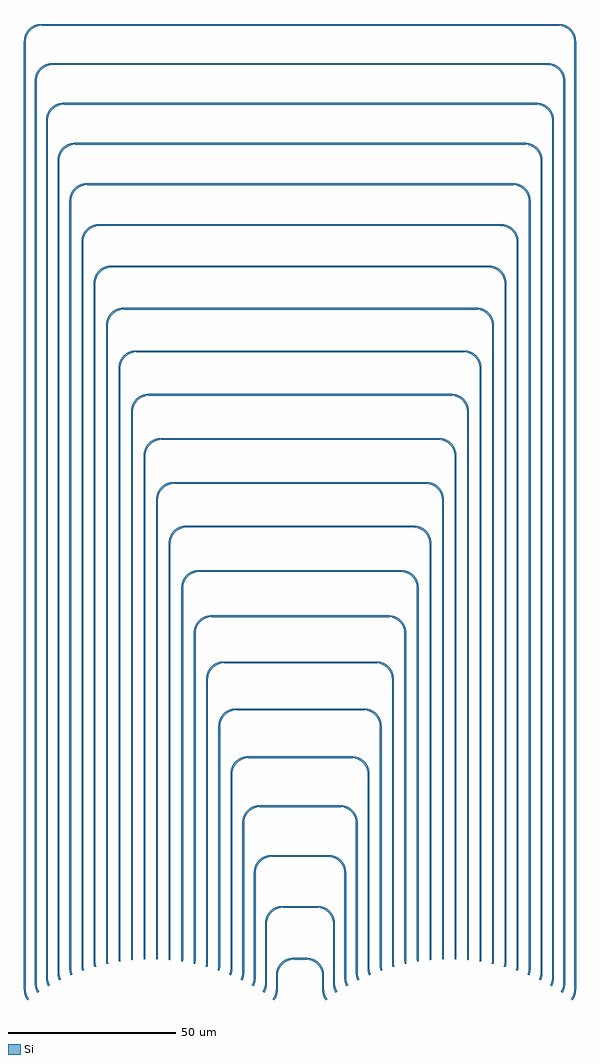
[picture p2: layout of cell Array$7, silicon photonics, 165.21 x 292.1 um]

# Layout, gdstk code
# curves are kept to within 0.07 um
from math import pi, radians
import gdstk
lib = gdstk.Library(unit=1e-6, precision=1e-09)
def R(c, l, rs):  # rectangles x0, y0, x1, y1
    for r in rs: c.add(gdstk.rectangle(r[:2], r[2:], *l))
def P(c, l, *ps):  # polygons
    for p in ps: c.add(gdstk.Polygon(p, *l))
Si = (1, 0)

arc014_2 = lib.new_cell('arc014$2')
P(arc014_2, Si, [(4.407,-2.854),(3.987,-2.582),(4.294,-2.032),(4.545,-1.382),(4.697,-0.711),(4.75,0),(5.25,0),(5.194,-0.768),(5.039,-1.475),(4.777,-2.179)])

arc007_2 = lib.new_cell('arc007$2')
P(arc007_2, Si, [(4.226,-3.115),(3.824,-2.818),(4.23,-2.162),(4.509,-1.495),(4.693,-0.737),(4.75,0),(5.25,0),(5.184,-0.832),(4.995,-1.618),(4.667,-2.405)])

arc077_3 = lib.new_cell('arc077$3')
P(arc077_3, Si, [(5.248,-0.159),(4.748,-0.144),(4.75,0),(5.25,0)])

arc154_2 = lib.new_cell('arc154$2')
P(arc154_2, Si, [(4.75,0),(4.693,0.737),(4.509,1.495),(4.23,2.162),(3.824,2.818),(4.226,3.115),(4.82,2.082),(5.175,0.887),(5.25,0)])

arc112_2 = lib.new_cell('arc112$2')
P(arc112_2, Si, [(4.75,0),(4.706,0.649),(4.575,1.277),(5.057,1.412),(5.205,0.69),(5.25,0)])

arc028_7 = lib.new_cell('arc028$7')
P(arc028_7, Si, [(4.719,-2.301),(4.269,-2.082),(4.624,-1.089),(4.75,0),(5.25,0),(5.117,-1.176)])

arc147_2 = lib.new_cell('arc147$2')
P(arc147_2, Si, [(4.75,0),(4.697,0.711),(4.545,1.382),(4.294,2.032),(3.987,2.582),(4.407,2.854),(4.93,1.806),(5.209,0.659),(5.25,0)])

arc105_5 = lib.new_cell('arc105$5')
P(arc105_5, Si, [(4.75,0),(4.644,0.998),(5.133,1.103),(5.25,0)])

arc063_2 = lib.new_cell('arc063$2')
P(arc063_2, Si, [(5.19,-0.791),(4.696,-0.716),(4.75,0),(5.25,0)])

arc133_2 = lib.new_cell('arc133$2')
P(arc133_2, Si, [(4.75,0),(4.624,1.089),(4.269,2.082),(4.719,2.301),(5.1,1.248),(5.25,0.064),(5.25,0)])

arc132_2 = lib.new_cell('arc132$2')
P(arc132_2, Si, [(4.719,-2.301),(4.269,-2.082),(4.624,-1.089),(4.75,0),(5.25,0),(5.117,-1.176)])

arc055_7 = lib.new_cell('arc055$7')
P(arc055_7, Si, [(4.75,0),(4.644,0.998),(5.133,1.103),(5.25,0)])

arc098_2 = lib.new_cell('arc098$2')
P(arc098_2, Si, [(4.75,0),(4.696,0.716),(5.19,0.791),(5.25,0)])

arc097_6 = lib.new_cell('arc097$6')
P(arc097_6, Si, [(5.19,-0.791),(4.696,-0.716),(4.75,0),(5.25,0)])

taper141_2 = lib.new_cell('taper141$2')
R(taper141_2, Si, [(0,-0.25,256.547,0.25)])

arc_7 = lib.new_cell('arc$7')
P(arc_7, Si, [(4.75,0),(4.693,0.737),(4.509,1.495),(4.23,2.162),(3.824,2.818),(4.226,3.115),(4.82,2.082),(5.175,0.887),(5.25,0)])

arc042_2 = lib.new_cell('arc042$2')
P(arc042_2, Si, [(4.962,-1.715),(4.49,-1.551),(4.682,-0.803),(4.75,0),(5.25,0),(5.178,-0.869)])

taper152_2 = lib.new_cell('taper152$2')
R(taper152_2, Si, [(0,-0.25,148.202,0.25)])

arc070_7 = lib.new_cell('arc070$7')
P(arc070_7, Si, [(5.228,-0.476),(4.73,-0.43),(4.75,0),(5.25,0)])

arc123_2 = lib.new_cell('arc123$2')
P(arc123_2, Si, [(4.75,0),(4.669,0.875),(4.428,1.72),(4.027,2.52),(3.511,3.2),(2.741,3.88),(1.911,4.349),(0.981,4.648),(0,4.75),(0,5.25),(1.057,5.143),(2.096,4.814),(3.037,4.283),(3.862,3.557),(4.656,2.427),(5.105,1.227),(5.25,0)])

taper075_2 = lib.new_cell('taper075$2')
R(taper075_2, Si, [(0,-0.25,68.017,0.25)])

taper142_2 = lib.new_cell('taper142$2')
R(taper142_2, Si, [(0,-0.25,256.547,0.25)])

taper106_2 = lib.new_cell('taper106$2')
R(taper106_2, Si, [(0,-0.25,190.013,0.25)])

arc062_2 = lib.new_cell('arc062$2')
P(arc062_2, Si, [(4.75,0),(4.696,0.716),(5.19,0.791),(5.25,0)])

arc095_4 = lib.new_cell('arc095$4')
P(arc095_4, Si, [(4.75,0),(4.669,0.875),(4.428,1.72),(4.027,2.52),(3.511,3.2),(2.741,3.88),(1.911,4.349),(0.981,4.648),(0,4.75),(0,5.25),(1.057,5.143),(2.096,4.814),(3.037,4.283),(3.862,3.557),(4.656,2.427),(5.105,1.227),(5.25,0)])

taper033_2 = lib.new_cell('taper033$2')
R(taper033_2, Si, [(0,-0.25,23.99,0.25)])

arc081_2 = lib.new_cell('arc081$2')
P(arc081_2, Si, [(4.75,0),(4.669,0.875),(4.428,1.72),(4.027,2.52),(3.511,3.2),(2.741,3.88),(1.911,4.349),(0.981,4.648),(0,4.75),(0,5.25),(1.057,5.143),(2.096,4.814),(3.037,4.283),(3.862,3.557),(4.656,2.427),(5.105,1.227),(5.25,0)])

taper089_2 = lib.new_cell('taper089$2')
R(taper089_2, Si, [(0,-0.25,83.03,0.25)])

arc076_6 = lib.new_cell('arc076$6')
P(arc076_6, Si, [(4.75,0),(4.748,0.144),(5.248,0.159),(5.25,0)])

arc067_7 = lib.new_cell('arc067$7')
P(arc067_7, Si, [(4.75,0),(4.669,0.875),(4.428,1.72),(4.027,2.52),(3.511,3.2),(2.741,3.88),(1.911,4.349),(0.981,4.648),(0,4.75),(0,5.25),(1.057,5.143),(2.096,4.814),(3.037,4.283),(3.862,3.557),(4.656,2.427),(5.105,1.227),(5.25,0)])

arc137_2 = lib.new_cell('arc137$2')
P(arc137_2, Si, [(4.75,0),(4.669,0.875),(4.428,1.72),(4.027,2.52),(3.511,3.2),(2.741,3.88),(1.911,4.349),(0.981,4.648),(0,4.75),(0,5.25),(1.057,5.143),(2.096,4.814),(3.037,4.283),(3.862,3.557),(4.656,2.427),(5.105,1.227),(5.25,0)])

taper145_2 = lib.new_cell('taper145$2')
R(taper145_2, Si, [(0,-0.25,141.481,0.25)])

taper061_2 = lib.new_cell('taper061$2')
R(taper061_2, Si, [(0,-0.25,53.032,0.25)])

taper044_2 = lib.new_cell('taper044$2')
R(taper044_2, Si, [(0,-0.25,71.515,0.25)])

taper127_2 = lib.new_cell('taper127$2')
R(taper127_2, Si, [(0,-0.25,229.737,0.25)])

taper065_2 = lib.new_cell('taper065$2')
R(taper065_2, Si, [(0,-0.25,111.109,0.25)])

taper100_2 = lib.new_cell('taper100$2')
R(taper100_2, Si, [(0,-0.25,176.849,0.25)])

arc158_2 = lib.new_cell('arc158$2')
P(arc158_2, Si, [(4.75,0),(4.669,0.875),(4.428,1.72),(4.027,2.52),(3.511,3.2),(2.741,3.88),(1.911,4.349),(0.981,4.648),(0,4.75),(0,5.25),(1.057,5.143),(2.096,4.814),(3.037,4.283),(3.862,3.557),(4.656,2.427),(5.105,1.227),(5.25,0)])

taper068_2 = lib.new_cell('taper068$2')
R(taper068_2, Si, [(0,-0.25,60.509,0.25)])

taper110_2 = lib.new_cell('taper110$2')
R(taper110_2, Si, [(0,-0.25,105.528,0.25)])

arc017_2 = lib.new_cell('arc017$2')
P(arc017_2, Si, [(0,-5.25),(0,-4.75),(0.907,-4.663),(1.82,-4.388),(2.666,-3.932),(3.35,-3.368),(3.932,-2.666),(4.388,-1.82),(4.663,-0.907),(4.75,0),(5.25,0),(5.159,-0.976),(4.881,-1.935),(4.376,-2.901),(3.735,-3.69),(2.939,-4.351),(2.037,-4.839),(1.057,-5.143)])

taper117_2 = lib.new_cell('taper117$2')
R(taper117_2, Si, [(0,-0.25,112.945,0.25)])

arc025_7 = lib.new_cell('arc025$7')
P(arc025_7, Si, [(4.75,0),(4.669,0.875),(4.428,1.72),(4.027,2.52),(3.511,3.2),(2.741,3.88),(1.911,4.349),(0.981,4.648),(0,4.75),(0,5.25),(1.057,5.143),(2.096,4.814),(3.037,4.283),(3.862,3.557),(4.656,2.427),(5.105,1.227),(5.25,0)])

arc109_2 = lib.new_cell('arc109$2')
P(arc109_2, Si, [(4.75,0),(4.669,0.875),(4.428,1.72),(4.027,2.52),(3.511,3.2),(2.741,3.88),(1.911,4.349),(0.981,4.648),(0,4.75),(0,5.25),(1.057,5.143),(2.096,4.814),(3.037,4.283),(3.862,3.557),(4.656,2.427),(5.105,1.227),(5.25,0)])

taper047_2 = lib.new_cell('taper047$2')
R(taper047_2, Si, [(0,-0.25,38.285,0.25)])

taper103_2 = lib.new_cell('taper103$2')
R(taper103_2, Si, [(0,-0.25,98.051,0.25)])

taper009_2 = lib.new_cell('taper009$2')
R(taper009_2, Si, [(0,-0.25,4.22,0.25)])

taper148_2 = lib.new_cell('taper148$2')
R(taper148_2, Si, [(0,-0.25,270.089,0.25)])

taper057_2 = lib.new_cell('taper057$2')
R(taper057_2, Si, [(0,-0.25,97.946,0.25)])

arc046_7 = lib.new_cell('arc046$7')
P(arc046_7, Si, [(4.75,0),(4.669,0.875),(4.428,1.72),(4.027,2.52),(3.511,3.2),(2.741,3.88),(1.911,4.349),(0.981,4.648),(0,4.75),(0,5.25),(1.057,5.143),(2.096,4.814),(3.037,4.283),(3.862,3.557),(4.656,2.427),(5.105,1.227),(5.25,0)])

arc039_2 = lib.new_cell('arc039$2')
P(arc039_2, Si, [(4.75,0),(4.669,0.875),(4.428,1.72),(4.027,2.52),(3.511,3.2),(2.741,3.88),(1.911,4.349),(0.981,4.648),(0,4.75),(0,5.25),(1.057,5.143),(2.096,4.814),(3.037,4.283),(3.862,3.557),(4.656,2.427),(5.105,1.227),(5.25,0)])

arc130_2 = lib.new_cell('arc130$2')
P(arc130_2, Si, [(4.75,0),(4.669,0.875),(4.428,1.72),(4.027,2.52),(3.511,3.2),(2.741,3.88),(1.911,4.349),(0.981,4.648),(0,4.75),(0,5.25),(1.057,5.143),(2.096,4.814),(3.037,4.283),(3.862,3.557),(4.656,2.427),(5.105,1.227),(5.25,0)])

taper096_2 = lib.new_cell('taper096$2')
R(taper096_2, Si, [(0,-0.25,90.543,0.25)])

arc032_2 = lib.new_cell('arc032$2')
P(arc032_2, Si, [(4.75,0),(4.669,0.875),(4.428,1.72),(4.027,2.52),(3.511,3.2),(2.741,3.88),(1.911,4.349),(0.981,4.648),(0,4.75),(0,5.25),(1.057,5.143),(2.096,4.814),(3.037,4.283),(3.862,3.557),(4.656,2.427),(5.105,1.227),(5.25,0)])

taper026_2 = lib.new_cell('taper026$2')
R(taper026_2, Si, [(0,-0.25,17.079,0.25)])

arc018_2 = lib.new_cell('arc018$2')
P(arc018_2, Si, [(4.75,0),(4.669,0.875),(4.428,1.72),(4.027,2.52),(3.511,3.2),(2.741,3.88),(1.911,4.349),(0.981,4.648),(0,4.75),(0,5.25),(1.057,5.143),(2.096,4.814),(3.037,4.283),(3.862,3.557),(4.656,2.427),(5.105,1.227),(5.25,0)])

taper082_2 = lib.new_cell('taper082$2')
R(taper082_2, Si, [(0,-0.25,75.53,0.25)])

arc116_2 = lib.new_cell('arc116$2')
P(arc116_2, Si, [(4.75,0),(4.669,0.875),(4.428,1.72),(4.027,2.52),(3.511,3.2),(2.741,3.88),(1.911,4.349),(0.981,4.648),(0,4.75),(0,5.25),(1.057,5.143),(2.096,4.814),(3.037,4.283),(3.862,3.557),(4.656,2.427),(5.105,1.227),(5.25,0)])

taper131_2 = lib.new_cell('taper131$2')
R(taper131_2, Si, [(0,-0.25,127.493,0.25)])

taper019_2 = lib.new_cell('taper019$2')
R(taper019_2, Si, [(0,-0.25,10.358,0.25)])

arc074_2 = lib.new_cell('arc074$2')
P(arc074_2, Si, [(4.75,0),(4.669,0.875),(4.428,1.72),(4.027,2.52),(3.511,3.2),(2.741,3.88),(1.911,4.349),(0.981,4.648),(0,4.75),(0,5.25),(1.057,5.143),(2.096,4.814),(3.037,4.283),(3.862,3.557),(4.656,2.427),(5.105,1.227),(5.25,0)])

arc144_2 = lib.new_cell('arc144$2')
P(arc144_2, Si, [(4.75,0),(4.669,0.875),(4.428,1.72),(4.027,2.52),(3.511,3.2),(2.741,3.88),(1.911,4.349),(0.981,4.648),(0,4.75),(0,5.25),(1.057,5.143),(2.096,4.814),(3.037,4.283),(3.862,3.557),(4.656,2.427),(5.105,1.227),(5.25,0)])

taper012_2 = lib.new_cell('taper012$2')
R(taper012_2, Si, [(0,-0.25,3.853,0.25)])

taper030_2 = lib.new_cell('taper030$2')
R(taper030_2, Si, [(0,-0.25,44.858,0.25)])

taper036_2 = lib.new_cell('taper036$2')
R(taper036_2, Si, [(0,-0.25,58.221,0.25)])

taper107_2 = lib.new_cell('taper107$2')
R(taper107_2, Si, [(0,-0.25,190.013,0.25)])

arc056_2 = lib.new_cell('arc056$2')
P(arc056_2, Si, [(5.133,-1.103),(4.644,-0.998),(4.75,0),(5.25,0)])

taper124_2 = lib.new_cell('taper124$2')
R(taper124_2, Si, [(0,-0.25,120.275,0.25)])

arc088_6 = lib.new_cell('arc088$6')
P(arc088_6, Si, [(4.75,0),(4.669,0.875),(4.428,1.72),(4.027,2.52),(3.511,3.2),(2.741,3.88),(1.911,4.349),(0.981,4.648),(0,4.75),(0,5.25),(1.057,5.143),(2.096,4.814),(3.037,4.283),(3.862,3.557),(4.656,2.427),(5.105,1.227),(5.25,0)])

arc122_2 = lib.new_cell('arc122$2')
P(arc122_2, Si, [(0,-5.25),(0,-4.75),(0.907,-4.663),(1.82,-4.388),(2.666,-3.932),(3.35,-3.368),(3.932,-2.666),(4.388,-1.82),(4.663,-0.907),(4.75,0),(5.25,0),(5.159,-0.976),(4.881,-1.935),(4.376,-2.901),(3.735,-3.69),(2.939,-4.351),(2.037,-4.839),(1.057,-5.143)])

arc101_6 = lib.new_cell('arc101$6')
P(arc101_6, Si, [(0,-5.25),(0,-4.75),(0.907,-4.663),(1.82,-4.388),(2.666,-3.932),(3.35,-3.368),(3.932,-2.666),(4.388,-1.82),(4.663,-0.907),(4.75,0),(5.25,0),(5.159,-0.976),(4.881,-1.935),(4.376,-2.901),(3.735,-3.69),(2.939,-4.351),(2.037,-4.839),(1.057,-5.143)])

arc108_2 = lib.new_cell('arc108$2')
P(arc108_2, Si, [(0,-5.25),(0,-4.75),(0.907,-4.663),(1.82,-4.388),(2.666,-3.932),(3.35,-3.368),(3.932,-2.666),(4.388,-1.82),(4.663,-0.907),(4.75,0),(5.25,0),(5.159,-0.976),(4.881,-1.935),(4.376,-2.901),(3.735,-3.69),(2.939,-4.351),(2.037,-4.839),(1.057,-5.143)])

arc087_2 = lib.new_cell('arc087$2')
P(arc087_2, Si, [(0,-5.25),(0,-4.75),(0.907,-4.663),(1.82,-4.388),(2.666,-3.932),(3.35,-3.368),(3.932,-2.666),(4.388,-1.82),(4.663,-0.907),(4.75,0),(5.25,0),(5.159,-0.976),(4.881,-1.935),(4.376,-2.901),(3.735,-3.69),(2.939,-4.351),(2.037,-4.839),(1.057,-5.143)])

arc049_7 = lib.new_cell('arc049$7')
P(arc049_7, Si, [(5.057,-1.412),(4.575,-1.277),(4.706,-0.649),(4.75,0),(5.25,0),(5.205,-0.69)])

arc031_7 = lib.new_cell('arc031$7')
P(arc031_7, Si, [(0,-5.25),(0,-4.75),(0.907,-4.663),(1.82,-4.388),(2.666,-3.932),(3.35,-3.368),(3.932,-2.666),(4.388,-1.82),(4.663,-0.907),(4.75,0),(5.25,0),(5.159,-0.976),(4.881,-1.935),(4.376,-2.901),(3.735,-3.69),(2.939,-4.351),(2.037,-4.839),(1.057,-5.143)])

arc157_2 = lib.new_cell('arc157$2')
P(arc157_2, Si, [(0,-5.25),(0,-4.75),(0.907,-4.663),(1.82,-4.388),(2.666,-3.932),(3.35,-3.368),(3.932,-2.666),(4.388,-1.82),(4.663,-0.907),(4.75,0),(5.25,0),(5.159,-0.976),(4.881,-1.935),(4.376,-2.901),(3.735,-3.69),(2.939,-4.351),(2.037,-4.839),(1.057,-5.143)])

taper149_2 = lib.new_cell('taper149$2')
R(taper149_2, Si, [(0,-0.25,270.089,0.25)])

taper113_2 = lib.new_cell('taper113$2')
R(taper113_2, Si, [(0,-0.25,203.207,0.25)])

taper071_2 = lib.new_cell('taper071$2')
R(taper071_2, Si, [(0,-0.25,124.257,0.25)])

arc048_2 = lib.new_cell('arc048$2')
P(arc048_2, Si, [(4.75,0),(4.706,0.649),(4.575,1.277),(5.057,1.412),(5.205,0.69),(5.25,0)])

arc115_2 = lib.new_cell('arc115$2')
P(arc115_2, Si, [(0,-5.25),(0,-4.75),(0.907,-4.663),(1.82,-4.388),(2.666,-3.932),(3.35,-3.368),(3.932,-2.666),(4.388,-1.82),(4.663,-0.907),(4.75,0),(5.25,0),(5.159,-0.976),(4.881,-1.935),(4.376,-2.901),(3.735,-3.69),(2.939,-4.351),(2.037,-4.839),(1.057,-5.143)])

arc111_2 = lib.new_cell('arc111$2')
P(arc111_2, Si, [(5.057,-1.412),(4.575,-1.277),(4.706,-0.649),(4.75,0),(5.25,0),(5.205,-0.69)])

arc140_2 = lib.new_cell('arc140$2')
P(arc140_2, Si, [(4.75,0),(4.59,1.224),(4.136,2.336),(4.571,2.582),(5.028,1.512),(5.237,0.376),(5.25,0)])

arc020_2 = lib.new_cell('arc020$2')
P(arc020_2, Si, [(4.75,0),(4.59,1.224),(4.136,2.336),(4.571,2.582),(5.028,1.512),(5.237,0.376),(5.25,0)])

arc069_2 = lib.new_cell('arc069$2')
P(arc069_2, Si, [(4.75,0),(4.73,0.43),(5.228,0.476),(5.25,0)])

taper155_2 = lib.new_cell('taper155$2')
R(taper155_2, Si, [(0,-0.25,283.739,0.25)])

taper079_2 = lib.new_cell('taper079$2')
R(taper079_2, Si, [(0,-0.25,137.403,0.25)])

taper022_2 = lib.new_cell('taper022$2')
R(taper022_2, Si, [(0,-0.25,31.411,0.25)])

arc083_2 = lib.new_cell('arc083$2')
P(arc083_2, Si, [(5.248,-0.159),(4.748,-0.144),(4.75,0),(5.25,0)])

taper134_2 = lib.new_cell('taper134$2')
R(taper134_2, Si, [(0,-0.25,243.101,0.25)])

arc153_2 = lib.new_cell('arc153$2')
P(arc153_2, Si, [(4.226,-3.115),(3.824,-2.818),(4.23,-2.162),(4.509,-1.495),(4.693,-0.737),(4.75,0),(5.25,0),(5.184,-0.832),(4.995,-1.618),(4.667,-2.405)])

arc118_2 = lib.new_cell('arc118$2')
P(arc118_2, Si, [(4.962,-1.715),(4.49,-1.551),(4.682,-0.803),(4.75,0),(5.25,0),(5.178,-0.869)])

arc150_2 = lib.new_cell('arc150$2')
P(arc150_2, Si, [(0,-5.25),(0,-4.75),(0.907,-4.663),(1.82,-4.388),(2.666,-3.932),(3.35,-3.368),(3.932,-2.666),(4.388,-1.82),(4.663,-0.907),(4.75,0),(5.25,0),(5.159,-0.976),(4.881,-1.935),(4.376,-2.901),(3.735,-3.69),(2.939,-4.351),(2.037,-4.839),(1.057,-5.143)])

arc024_2 = lib.new_cell('arc024$2')
P(arc024_2, Si, [(0,-5.25),(0,-4.75),(0.907,-4.663),(1.82,-4.388),(2.666,-3.932),(3.35,-3.368),(3.932,-2.666),(4.388,-1.82),(4.663,-0.907),(4.75,0),(5.25,0),(5.159,-0.976),(4.881,-1.935),(4.376,-2.901),(3.735,-3.69),(2.939,-4.351),(2.037,-4.839),(1.057,-5.143)])

taper156_2 = lib.new_cell('taper156$2')
R(taper156_2, Si, [(0,-0.25,283.739,0.25)])

taper120_2 = lib.new_cell('taper120$2')
R(taper120_2, Si, [(0,-0.25,216.444,0.25)])

taper023_2 = lib.new_cell('taper023$2')
R(taper023_2, Si, [(0,-0.25,31.411,0.25)])

taper008_2 = lib.new_cell('taper008$2')
R(taper008_2, Si, [(0,-0.25,4.22,0.25)])

taper093_2 = lib.new_cell('taper093$2')
R(taper093_2, Si, [(0,-0.25,163.701,0.25)])

taper029_2 = lib.new_cell('taper029$2')
R(taper029_2, Si, [(0,-0.25,44.858,0.25)])

arc125_2 = lib.new_cell('arc125$2')
P(arc125_2, Si, [(4.849,-2.012),(4.388,-1.82),(4.663,-0.907),(4.75,0),(5.25,0),(5.152,-1.012)])

arc034_7 = lib.new_cell('arc034$7')
P(arc034_7, Si, [(4.75,0),(4.663,0.907),(4.388,1.82),(4.849,2.012),(5.152,1.012),(5.25,0)])

arc038_2 = lib.new_cell('arc038$2')
P(arc038_2, Si, [(0,-5.25),(0,-4.75),(0.907,-4.663),(1.82,-4.388),(2.666,-3.932),(3.35,-3.368),(3.932,-2.666),(4.388,-1.82),(4.663,-0.907),(4.75,0),(5.25,0),(5.159,-0.976),(4.881,-1.935),(4.376,-2.901),(3.735,-3.69),(2.939,-4.351),(2.037,-4.839),(1.057,-5.143)])

arc013_7 = lib.new_cell('arc013$7')
P(arc013_7, Si, [(4.75,0),(4.697,0.711),(4.545,1.382),(4.294,2.032),(3.987,2.582),(4.407,2.854),(4.93,1.806),(5.209,0.659),(5.25,0)])

arc090_2 = lib.new_cell('arc090$2')
P(arc090_2, Si, [(5.228,-0.476),(4.73,-0.43),(4.75,0),(5.25,0)])

arc041_2 = lib.new_cell('arc041$2')
P(arc041_2, Si, [(4.75,0),(4.682,0.803),(4.49,1.551),(4.962,1.715),(5.178,0.869),(5.25,0)])

taper121_2 = lib.new_cell('taper121$2')
R(taper121_2, Si, [(0,-0.25,216.444,0.25)])

taper085_2 = lib.new_cell('taper085$2')
R(taper085_2, Si, [(0,-0.25,150.556,0.25)])

taper043_2 = lib.new_cell('taper043$2')
R(taper043_2, Si, [(0,-0.25,71.515,0.25)])

arc066_2 = lib.new_cell('arc066$2')
P(arc066_2, Si, [(0,-5.25),(0,-4.75),(0.907,-4.663),(1.82,-4.388),(2.666,-3.932),(3.35,-3.368),(3.932,-2.666),(4.388,-1.82),(4.663,-0.907),(4.75,0),(5.25,0),(5.159,-0.976),(4.881,-1.935),(4.376,-2.901),(3.735,-3.69),(2.939,-4.351),(2.037,-4.839),(1.057,-5.143)])

arc010_7 = lib.new_cell('arc010$7')
P(arc010_7, Si, [(0,-5.25),(0,-4.75),(0.907,-4.663),(1.82,-4.388),(2.666,-3.932),(3.35,-3.368),(3.932,-2.666),(4.388,-1.82),(4.663,-0.907),(4.75,0),(5.25,0),(5.159,-0.976),(4.881,-1.935),(4.376,-2.901),(3.735,-3.69),(2.939,-4.351),(2.037,-4.839),(1.057,-5.143)])

arc136_2 = lib.new_cell('arc136$2')
P(arc136_2, Si, [(0,-5.25),(0,-4.75),(0.907,-4.663),(1.82,-4.388),(2.666,-3.932),(3.35,-3.368),(3.932,-2.666),(4.388,-1.82),(4.663,-0.907),(4.75,0),(5.25,0),(5.159,-0.976),(4.881,-1.935),(4.376,-2.901),(3.735,-3.69),(2.939,-4.351),(2.037,-4.839),(1.057,-5.143)])

arc045_2 = lib.new_cell('arc045$2')
P(arc045_2, Si, [(0,-5.25),(0,-4.75),(0.907,-4.663),(1.82,-4.388),(2.666,-3.932),(3.35,-3.368),(3.932,-2.666),(4.388,-1.82),(4.663,-0.907),(4.75,0),(5.25,0),(5.159,-0.976),(4.881,-1.935),(4.376,-2.901),(3.735,-3.69),(2.939,-4.351),(2.037,-4.839),(1.057,-5.143)])

taper135_2 = lib.new_cell('taper135$2')
R(taper135_2, Si, [(0,-0.25,243.101,0.25)])

taper099_2 = lib.new_cell('taper099$2')
R(taper099_2, Si, [(0,-0.25,176.849,0.25)])

taper050_2 = lib.new_cell('taper050$2')
R(taper050_2, Si, [(0,-0.25,84.752,0.25)])

arc146_2 = lib.new_cell('arc146$2')
P(arc146_2, Si, [(4.407,-2.854),(3.987,-2.582),(4.294,-2.032),(4.545,-1.382),(4.697,-0.711),(4.75,0),(5.25,0),(5.194,-0.768),(5.039,-1.475),(4.777,-2.179)])

arc143_2 = lib.new_cell('arc143$2')
P(arc143_2, Si, [(0,-5.25),(0,-4.75),(0.907,-4.663),(1.82,-4.388),(2.666,-3.932),(3.35,-3.368),(3.932,-2.666),(4.388,-1.82),(4.663,-0.907),(4.75,0),(5.25,0),(5.159,-0.976),(4.881,-1.935),(4.376,-2.901),(3.735,-3.69),(2.939,-4.351),(2.037,-4.839),(1.057,-5.143)])

arc052_7 = lib.new_cell('arc052$7')
P(arc052_7, Si, [(0,-5.25),(0,-4.75),(0.907,-4.663),(1.82,-4.388),(2.666,-3.932),(3.35,-3.368),(3.932,-2.666),(4.388,-1.82),(4.663,-0.907),(4.75,0),(5.25,0),(5.159,-0.976),(4.881,-1.935),(4.376,-2.901),(3.735,-3.69),(2.939,-4.351),(2.037,-4.839),(1.057,-5.143)])

arc035_2 = lib.new_cell('arc035$2')
P(arc035_2, Si, [(4.849,-2.012),(4.388,-1.82),(4.663,-0.907),(4.75,0),(5.25,0),(5.152,-1.012)])

arc094_6 = lib.new_cell('arc094$6')
P(arc094_6, Si, [(0,-5.25),(0,-4.75),(0.907,-4.663),(1.82,-4.388),(2.666,-3.932),(3.35,-3.368),(3.932,-2.666),(4.388,-1.82),(4.663,-0.907),(4.75,0),(5.25,0),(5.159,-0.976),(4.881,-1.935),(4.376,-2.901),(3.735,-3.69),(2.939,-4.351),(2.037,-4.839),(1.057,-5.143)])

arc073_7 = lib.new_cell('arc073$7')
P(arc073_7, Si, [(0,-5.25),(0,-4.75),(0.907,-4.663),(1.82,-4.388),(2.666,-3.932),(3.35,-3.368),(3.932,-2.666),(4.388,-1.82),(4.663,-0.907),(4.75,0),(5.25,0),(5.159,-0.976),(4.881,-1.935),(4.376,-2.901),(3.735,-3.69),(2.939,-4.351),(2.037,-4.839),(1.057,-5.143)])

arc104_2 = lib.new_cell('arc104$2')
P(arc104_2, Si, [(5.133,-1.103),(4.644,-0.998),(4.75,0),(5.25,0)])

arc139_2 = lib.new_cell('arc139$2')
P(arc139_2, Si, [(4.571,-2.582),(4.136,-2.336),(4.59,-1.224),(4.75,0),(5.25,0),(5.204,-0.696),(5.073,-1.353),(4.87,-1.962)])

arc129_2 = lib.new_cell('arc129$2')
P(arc129_2, Si, [(0,-5.25),(0,-4.75),(0.907,-4.663),(1.82,-4.388),(2.666,-3.932),(3.35,-3.368),(3.932,-2.666),(4.388,-1.82),(4.663,-0.907),(4.75,0),(5.25,0),(5.159,-0.976),(4.881,-1.935),(4.376,-2.901),(3.735,-3.69),(2.939,-4.351),(2.037,-4.839),(1.057,-5.143)])

arc021_2 = lib.new_cell('arc021$2')
P(arc021_2, Si, [(4.571,-2.582),(4.136,-2.336),(4.59,-1.224),(4.75,0),(5.25,0),(5.204,-0.696),(5.073,-1.353),(4.87,-1.962)])

arc080_2 = lib.new_cell('arc080$2')
P(arc080_2, Si, [(0,-5.25),(0,-4.75),(0.907,-4.663),(1.82,-4.388),(2.666,-3.932),(3.35,-3.368),(3.932,-2.666),(4.388,-1.82),(4.663,-0.907),(4.75,0),(5.25,0),(5.159,-0.976),(4.881,-1.935),(4.376,-2.901),(3.735,-3.69),(2.939,-4.351),(2.037,-4.839),(1.057,-5.143)])

arc059_2 = lib.new_cell('arc059$2')
P(arc059_2, Si, [(0,-5.25),(0,-4.75),(0.907,-4.663),(1.82,-4.388),(2.666,-3.932),(3.35,-3.368),(3.932,-2.666),(4.388,-1.82),(4.663,-0.907),(4.75,0),(5.25,0),(5.159,-0.976),(4.881,-1.935),(4.376,-2.901),(3.735,-3.69),(2.939,-4.351),(2.037,-4.839),(1.057,-5.143)])

taper016_2 = lib.new_cell('taper016$2')
R(taper016_2, Si, [(0,-0.25,17.869,0.25)])

taper128_2 = lib.new_cell('taper128$2')
R(taper128_2, Si, [(0,-0.25,229.737,0.25)])

taper092_2 = lib.new_cell('taper092$2')
R(taper092_2, Si, [(0,-0.25,163.701,0.25)])

taper015_2 = lib.new_cell('taper015$2')
R(taper015_2, Si, [(0,-0.25,17.869,0.25)])

taper051_2 = lib.new_cell('taper051$2')
R(taper051_2, Si, [(0,-0.25,84.752,0.25)])

arc151_2 = lib.new_cell('arc151$2')
P(arc151_2, Si, [(4.75,0),(4.669,0.875),(4.428,1.72),(4.027,2.52),(3.511,3.2),(2.741,3.88),(1.911,4.349),(0.981,4.648),(0,4.75),(0,5.25),(1.057,5.143),(2.096,4.814),(3.037,4.283),(3.862,3.557),(4.656,2.427),(5.105,1.227),(5.25,0)])

taper138_2 = lib.new_cell('taper138$2')
R(taper138_2, Si, [(0,-0.25,134.57,0.25)])

taper040_2 = lib.new_cell('taper040$2')
R(taper040_2, Si, [(0,-0.25,31.067,0.25)])

arc053_2 = lib.new_cell('arc053$2')
P(arc053_2, Si, [(4.75,0),(4.669,0.875),(4.428,1.72),(4.027,2.52),(3.511,3.2),(2.741,3.88),(1.911,4.349),(0.981,4.648),(0,4.75),(0,5.25),(1.057,5.143),(2.096,4.814),(3.037,4.283),(3.862,3.557),(4.656,2.427),(5.105,1.227),(5.25,0)])

arc084_2 = lib.new_cell('arc084$2')
P(arc084_2, Si, [(4.75,0),(4.748,0.144),(5.248,0.159),(5.25,0)])

arc102_2 = lib.new_cell('arc102$2')
P(arc102_2, Si, [(4.75,0),(4.669,0.875),(4.428,1.72),(4.027,2.52),(3.511,3.2),(2.741,3.88),(1.911,4.349),(0.981,4.648),(0,4.75),(0,5.25),(1.057,5.143),(2.096,4.814),(3.037,4.283),(3.862,3.557),(4.656,2.427),(5.105,1.227),(5.25,0)])

taper054_2 = lib.new_cell('taper054$2')
R(taper054_2, Si, [(0,-0.25,45.615,0.25)])

arc011_2 = lib.new_cell('arc011$2')
P(arc011_2, Si, [(4.75,0),(4.669,0.875),(4.428,1.72),(4.027,2.52),(3.511,3.2),(2.741,3.88),(1.911,4.349),(0.981,4.648),(0,4.75),(0,5.25),(1.057,5.143),(2.096,4.814),(3.037,4.283),(3.862,3.557),(4.656,2.427),(5.105,1.227),(5.25,0)])

arc119_2 = lib.new_cell('arc119$2')
P(arc119_2, Si, [(4.75,0),(4.682,0.803),(4.49,1.551),(4.962,1.715),(5.178,0.869),(5.25,0)])

arc126_2 = lib.new_cell('arc126$2')
P(arc126_2, Si, [(4.75,0),(4.663,0.907),(4.388,1.82),(4.849,2.012),(5.152,1.012),(5.25,0)])

taper114_2 = lib.new_cell('taper114$2')
R(taper114_2, Si, [(0,-0.25,203.207,0.25)])

taper078_2 = lib.new_cell('taper078$2')
R(taper078_2, Si, [(0,-0.25,137.403,0.25)])

arc027_2 = lib.new_cell('arc027$2')
P(arc027_2, Si, [(4.75,0),(4.624,1.089),(4.269,2.082),(4.719,2.301),(5.1,1.248),(5.25,0.064),(5.25,0)])

taper058_2 = lib.new_cell('taper058$2')
R(taper058_2, Si, [(0,-0.25,97.946,0.25)])

arc091_6 = lib.new_cell('arc091$6')
P(arc091_6, Si, [(4.75,0),(4.73,0.43),(5.228,0.476),(5.25,0)])

taper159_2 = lib.new_cell('taper159$2')
R(taper159_2, Si, [(0,-0.25,154.707,0.25)])

arc060_2 = lib.new_cell('arc060$2')
P(arc060_2, Si, [(4.75,0),(4.669,0.875),(4.428,1.72),(4.027,2.52),(3.511,3.2),(2.741,3.88),(1.911,4.349),(0.981,4.648),(0,4.75),(0,5.25),(1.057,5.143),(2.096,4.814),(3.037,4.283),(3.862,3.557),(4.656,2.427),(5.105,1.227),(5.25,0)])

taper072_2 = lib.new_cell('taper072$2')
R(taper072_2, Si, [(0,-0.25,124.257,0.25)])

taper086_2 = lib.new_cell('taper086$2')
R(taper086_2, Si, [(0,-0.25,150.556,0.25)])

taper064_2 = lib.new_cell('taper064$2')
R(taper064_2, Si, [(0,-0.25,111.109,0.25)])

taper037_2 = lib.new_cell('taper037$2')
R(taper037_2, Si, [(0,-0.25,58.221,0.25)])

array_7 = lib.new_cell('Array$7')
array_7.add(gdstk.Reference(arc014_2, (15.179,49.731), rotation=radians(212.927)))
array_7.add(gdstk.Reference(arc007_2, (11.926,47.85), rotation=radians(216.393)))
array_7.add(gdstk.Reference(arc077_3, (47.765,57.083), rotation=radians(181.733)))
array_7.add(gdstk.Reference(arc154_2, (77.354,47.85), rotation=radians(323.607)))
array_7.add(gdstk.Reference(arc112_2, (56.473,56.024), rotation=radians(344.403)))
array_7.add(gdstk.Reference(arc028_7, (21.995,52.887), rotation=radians(205.995)))
array_7.add(gdstk.Reference(arc147_2, (74.101,49.731), rotation=radians(327.073)))
array_7.add(gdstk.Reference(arc105_5, (52.764,56.628), rotation=radians(347.869)))
array_7.add(gdstk.Reference(arc063_2, (40.254,57.007), rotation=radians(188.665)))
array_7.add(gdstk.Reference(arc133_2, (67.285,52.887), rotation=radians(334.005)))
array_7.add(gdstk.Reference(arc132_2, (-67.285,52.887), rotation=radians(205.995)))
array_7.add(gdstk.Reference(arc055_7, (-36.516,56.628), rotation=radians(347.869)))
array_7.add(gdstk.Reference(arc098_2, (49.026,57.007), rotation=radians(351.335)))
array_7.add(gdstk.Reference(arc097_6, (-49.026,57.007), rotation=radians(188.665)))
array_7.add(gdstk.Reference(taper141_2, (-75.741,51.412), rotation=pi/2))
array_7.add(gdstk.Reference(arc_7, (-11.926,47.85), rotation=radians(323.607)))
array_7.add(gdstk.Reference(arc042_2, (29.142,55.197), rotation=radians(199.063)))
array_7.add(gdstk.Reference(taper152_2, (-74.101,324.821)))
array_7.add(gdstk.Reference(arc070_7, (44.009,57.158), rotation=radians(185.199)))
array_7.add(gdstk.Reference(arc123_2, (60.138,271.641)))
array_7.add(gdstk.Reference(taper075_2, (-34.009,186.416)))
array_7.add(gdstk.Reference(taper142_2, (75.741,51.412), rotation=pi/2))
array_7.add(gdstk.Reference(taper106_2, (-57.764,56.628), rotation=pi/2))
array_7.add(gdstk.Reference(arc062_2, (-40.254,57.007), rotation=radians(351.335)))
array_7.add(gdstk.Reference(arc095_4, (45.271,220.859)))
array_7.add(gdstk.Reference(taper033_2, (-11.995,102.745)))
array_7.add(gdstk.Reference(arc081_2, (37.765,194.486)))
array_7.add(gdstk.Reference(taper089_2, (-41.515,212.638)))
array_7.add(gdstk.Reference(arc076_6, (-47.765,57.083), rotation=radians(358.267)))
array_7.add(gdstk.Reference(arc067_7, (30.254,168.116)))
array_7.add(gdstk.Reference(arc137_2, (67.285,295.988)))
array_7.add(gdstk.Reference(taper145_2, (-70.741,312.96)))
array_7.add(gdstk.Reference(taper061_2, (-26.516,159.574)))
array_7.add(gdstk.Reference(taper044_2, (24.142,55.197), rotation=pi/2))
array_7.add(gdstk.Reference(taper127_2, (-68.746,54.15), rotation=pi/2))
array_7.add(gdstk.Reference(taper065_2, (35.254,57.007), rotation=pi/2))
array_7.add(gdstk.Reference(taper100_2, (54.026,57.007), rotation=pi/2))
array_7.add(gdstk.Reference(arc158_2, (77.354,331.589)))
array_7.add(gdstk.Reference(taper068_2, (-30.254,173.116)))
array_7.add(gdstk.Reference(taper110_2, (-52.764,251.641)))
array_7.add(gdstk.Reference(arc017_2, (-5.179,67.601), rotation=pi))
array_7.add(gdstk.Reference(taper117_2, (-56.473,264.231)))
array_7.add(gdstk.Reference(arc025_7, (8.539,82.823)))
array_7.add(gdstk.Reference(arc109_2, (52.764,246.641)))
array_7.add(gdstk.Reference(taper047_2, (-19.142,131.712)))
array_7.add(gdstk.Reference(taper103_2, (-49.026,238.856)))
array_7.add(gdstk.Reference(taper009_2, (6.926,47.85), rotation=pi/2))
array_7.add(gdstk.Reference(taper148_2, (-79.101,49.731), rotation=pi/2))
array_7.add(gdstk.Reference(taper057_2, (-31.516,56.628), rotation=pi/2))
array_7.add(gdstk.Reference(arc046_7, (19.142,126.712)))
array_7.add(gdstk.Reference(arc039_2, (15.534,112.372)))
array_7.add(gdstk.Reference(arc130_2, (63.746,283.888)))
array_7.add(gdstk.Reference(taper096_2, (-45.271,225.859)))
array_7.add(gdstk.Reference(arc032_2, (11.995,97.745)))
array_7.add(gdstk.Reference(taper026_2, (-8.539,87.823)))
array_7.add(gdstk.Reference(arc018_2, (5.179,67.601)))
array_7.add(gdstk.Reference(taper082_2, (-37.765,199.486)))
array_7.add(gdstk.Reference(arc116_2, (56.473,259.231)))
array_7.add(gdstk.Reference(taper131_2, (-63.746,288.888)))
array_7.add(gdstk.Reference(taper019_2, (-5.179,72.601)))
array_7.add(gdstk.Reference(arc074_2, (34.009,181.416)))
array_7.add(gdstk.Reference(arc144_2, (70.741,307.96)))
array_7.add(gdstk.Reference(taper012_2, (-1.926,57.07)))
array_7.add(gdstk.Reference(taper030_2, (16.995,52.887), rotation=pi/2))
array_7.add(gdstk.Reference(taper036_2, (-20.534,54.15), rotation=pi/2))
array_7.add(gdstk.Reference(taper107_2, (57.764,56.628), rotation=pi/2))
array_7.add(gdstk.Reference(arc056_2, (36.516,56.628), rotation=radians(192.131)))
array_7.add(gdstk.Reference(taper124_2, (-60.138,276.641)))
array_7.add(gdstk.Reference(arc088_6, (41.515,207.638)))
array_7.add(gdstk.Reference(arc122_2, (-60.138,271.641), rotation=pi))
array_7.add(gdstk.Reference(arc101_6, (-49.026,233.856), rotation=pi))
array_7.add(gdstk.Reference(arc108_2, (-52.764,246.641), rotation=pi))
array_7.add(gdstk.Reference(arc087_2, (-41.515,207.638), rotation=pi))
array_7.add(gdstk.Reference(arc049_7, (32.807,56.024), rotation=radians(195.597)))
array_7.add(gdstk.Reference(arc031_7, (-11.995,97.745), rotation=pi))
array_7.add(gdstk.Reference(arc157_2, (-77.354,331.589), rotation=pi))
array_7.add(gdstk.Reference(taper149_2, (79.101,49.731), rotation=pi/2))
array_7.add(gdstk.Reference(taper113_2, (-61.473,56.024), rotation=pi/2))
array_7.add(gdstk.Reference(taper071_2, (-39.009,57.158), rotation=pi/2))
array_7.add(gdstk.Reference(arc048_2, (-32.807,56.024), rotation=radians(344.403)))
array_7.add(gdstk.Reference(arc115_2, (-56.473,259.231), rotation=pi))
array_7.add(gdstk.Reference(arc111_2, (-56.473,56.024), rotation=radians(195.597)))
array_7.add(gdstk.Reference(arc140_2, (70.741,51.412), rotation=radians(330.539)))
array_7.add(gdstk.Reference(arc020_2, (-18.539,51.412), rotation=radians(330.539)))
array_7.add(gdstk.Reference(arc069_2, (-44.009,57.158), rotation=radians(354.801)))
array_7.add(gdstk.Reference(taper155_2, (-82.354,47.85), rotation=pi/2))
array_7.add(gdstk.Reference(taper079_2, (42.765,57.083), rotation=pi/2))
array_7.add(gdstk.Reference(taper022_2, (-13.539,51.412), rotation=pi/2))
array_7.add(gdstk.Reference(arc083_2, (-41.515,57.083), rotation=radians(181.733)))
array_7.add(gdstk.Reference(taper134_2, (-72.285,52.887), rotation=pi/2))
array_7.add(gdstk.Reference(arc153_2, (-77.354,47.85), rotation=radians(216.393)))
array_7.add(gdstk.Reference(arc118_2, (-60.138,55.197), rotation=radians(199.063)))
array_7.add(gdstk.Reference(arc150_2, (-74.101,319.821), rotation=pi))
array_7.add(gdstk.Reference(arc024_2, (-8.539,82.823), rotation=pi))
array_7.add(gdstk.Reference(taper156_2, (82.354,47.85), rotation=pi/2))
array_7.add(gdstk.Reference(taper120_2, (-65.138,55.197), rotation=pi/2))
array_7.add(gdstk.Reference(taper023_2, (13.539,51.412), rotation=pi/2))
array_7.add(gdstk.Reference(taper008_2, (-6.926,47.85), rotation=pi/2))
array_7.add(gdstk.Reference(taper093_2, (50.271,57.158), rotation=pi/2))
array_7.add(gdstk.Reference(taper029_2, (-16.995,52.887), rotation=pi/2))
array_7.add(gdstk.Reference(arc125_2, (-63.746,54.15), rotation=radians(202.529)))
array_7.add(gdstk.Reference(arc034_7, (-25.534,54.15), rotation=radians(337.471)))
array_7.add(gdstk.Reference(arc038_2, (-15.534,112.372), rotation=pi))
array_7.add(gdstk.Reference(arc013_7, (-15.179,49.731), rotation=radians(327.073)))
array_7.add(gdstk.Reference(arc090_2, (-45.271,57.158), rotation=radians(185.199)))
array_7.add(gdstk.Reference(arc041_2, (-29.142,55.197), rotation=radians(340.937)))
array_7.add(gdstk.Reference(taper121_2, (65.138,55.197), rotation=pi/2))
array_7.add(gdstk.Reference(taper085_2, (-46.515,57.083), rotation=pi/2))
array_7.add(gdstk.Reference(taper043_2, (-24.142,55.197), rotation=pi/2))
array_7.add(gdstk.Reference(arc066_2, (-30.254,168.116), rotation=pi))
array_7.add(gdstk.Reference(arc010_7, (-1.926,52.07), rotation=pi))
array_7.add(gdstk.Reference(arc136_2, (-67.285,295.988), rotation=pi))
array_7.add(gdstk.Reference(arc045_2, (-19.142,126.712), rotation=pi))
array_7.add(gdstk.Reference(taper135_2, (72.285,52.887), rotation=pi/2))
array_7.add(gdstk.Reference(taper099_2, (-54.026,57.007), rotation=pi/2))
array_7.add(gdstk.Reference(taper050_2, (-27.807,56.024), rotation=pi/2))
array_7.add(gdstk.Reference(arc146_2, (-74.101,49.731), rotation=radians(212.927)))
array_7.add(gdstk.Reference(arc143_2, (-70.741,307.96), rotation=pi))
array_7.add(gdstk.Reference(arc052_7, (-22.807,140.776), rotation=pi))
array_7.add(gdstk.Reference(arc035_2, (25.534,54.15), rotation=radians(202.529)))
array_7.add(gdstk.Reference(arc094_6, (-45.271,220.859), rotation=pi))
array_7.add(gdstk.Reference(arc073_7, (-34.009,181.416), rotation=pi))
array_7.add(gdstk.Reference(arc104_2, (-52.764,56.628), rotation=radians(192.131)))
array_7.add(gdstk.Reference(arc139_2, (-70.741,51.412), rotation=radians(209.461)))
array_7.add(gdstk.Reference(arc129_2, (-63.746,283.888), rotation=pi))
array_7.add(gdstk.Reference(arc021_2, (18.539,51.412), rotation=radians(209.461)))
array_7.add(gdstk.Reference(arc080_2, (-37.765,194.486), rotation=pi))
array_7.add(gdstk.Reference(arc059_2, (-26.516,154.574), rotation=pi))
array_7.add(gdstk.Reference(taper016_2, (10.179,49.731), rotation=pi/2))
array_7.add(gdstk.Reference(taper128_2, (68.746,54.15), rotation=pi/2))
array_7.add(gdstk.Reference(taper092_2, (-50.271,57.158), rotation=pi/2))
array_7.add(gdstk.Reference(taper015_2, (-10.179,49.731), rotation=pi/2))
array_7.add(gdstk.Reference(taper051_2, (27.807,56.024), rotation=pi/2))
array_7.add(gdstk.Reference(arc151_2, (74.101,319.821)))
array_7.add(gdstk.Reference(taper138_2, (-67.285,300.988)))
array_7.add(gdstk.Reference(taper040_2, (-15.534,117.372)))
array_7.add(gdstk.Reference(arc053_2, (22.807,140.776)))
array_7.add(gdstk.Reference(arc084_2, (41.515,57.083), rotation=radians(358.267)))
array_7.add(gdstk.Reference(arc102_2, (49.026,233.856)))
array_7.add(gdstk.Reference(taper054_2, (-22.807,145.776)))
array_7.add(gdstk.Reference(arc011_2, (1.926,52.07)))
array_7.add(gdstk.Reference(arc119_2, (60.138,55.197), rotation=radians(340.937)))
array_7.add(gdstk.Reference(arc126_2, (63.746,54.15), rotation=radians(337.471)))
array_7.add(gdstk.Reference(taper114_2, (61.473,56.024), rotation=pi/2))
array_7.add(gdstk.Reference(taper078_2, (-42.765,57.083), rotation=pi/2))
array_7.add(gdstk.Reference(arc027_2, (-21.995,52.887), rotation=radians(334.005)))
array_7.add(gdstk.Reference(taper058_2, (31.516,56.628), rotation=pi/2))
array_7.add(gdstk.Reference(arc091_6, (45.271,57.158), rotation=radians(354.801)))
array_7.add(gdstk.Reference(taper159_2, (-77.354,336.589)))
array_7.add(gdstk.Reference(arc060_2, (26.516,154.574)))
array_7.add(gdstk.Reference(taper072_2, (39.009,57.158), rotation=pi/2))
array_7.add(gdstk.Reference(taper086_2, (46.515,57.083), rotation=pi/2))
array_7.add(gdstk.Reference(taper064_2, (-35.254,57.007), rotation=pi/2))
array_7.add(gdstk.Reference(taper037_2, (20.534,54.15), rotation=pi/2))

lib.write_gds('Array_7.gds')
